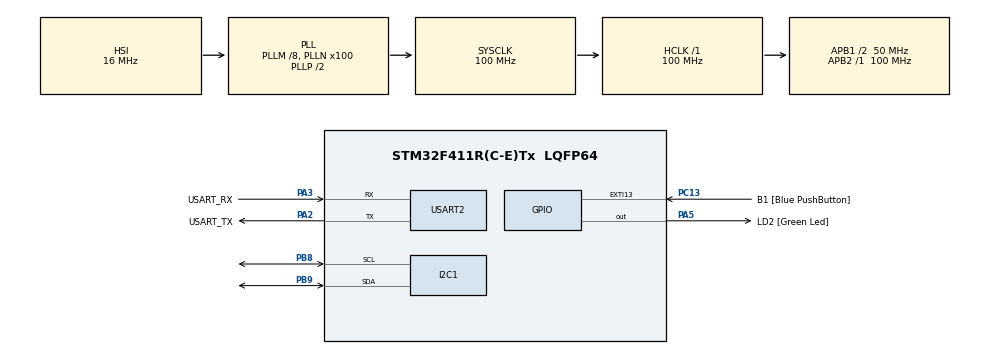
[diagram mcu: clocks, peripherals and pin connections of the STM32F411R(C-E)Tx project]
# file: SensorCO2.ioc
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Mcu.Family=STM32F4
Mcu.Name=STM32F411R(C-E)Tx
Mcu.Package=LQFP64
NVIC.PriorityGroup=NVIC_PRIORITYGROUP_0
PA13.GPIO_Label=TMS
PA13.Mode=Serial_Wire
PA13.Signal=SYS_JTMS-SWDIO
PA14.GPIO_Label=TCK
PA14.Mode=Serial_Wire
PA14.Signal=SYS_JTCK-SWCLK
PA2.GPIO_Label=USART_TX
PA2.Mode=Asynchronous
PA2.Signal=USART2_TX
PA3.GPIO_Label=USART_RX
PA3.Mode=Asynchronous
PA3.Signal=USART2_RX
PA5.GPIO_Label=LD2 [Green Led]
PA5.Signal=GPIO_Output
PB8.Mode=I2C
PB8.Signal=I2C1_SCL
PB9.Mode=I2C
PB9.Signal=I2C1_SDA
PC13-ANTI_TAMP.GPIO_Label=B1 [Blue PushButton]
PC13-ANTI_TAMP.GPIO_ModeDefaultEXTI=GPIO_MODE_IT_FALLING
PC13-ANTI_TAMP.Signal=GPXTI13
PH0\ -\ OSC_IN.Mode=HSE-External-Oscillator
PH0\ -\ OSC_IN.Signal=RCC_OSC_IN
PH1\ -\ OSC_OUT.Mode=HSE-External-Oscillator
PH1\ -\ OSC_OUT.Signal=RCC_OSC_OUT
ProjectManager.HeapSize=0x200
ProjectManager.StackSize=0x400
ProjectManager.TargetToolchain=STM32CubeIDE
RCC.48MHZClocksFreq_Value=50000000
RCC.AHBFreq_Value=100000000
RCC.APB1CLKDivider=RCC_HCLK_DIV2
RCC.APB1Freq_Value=50000000
RCC.APB1TimFreq_Value=100000000
RCC.APB2Freq_Value=100000000
RCC.APB2TimFreq_Value=100000000
RCC.CortexFreq_Value=100000000
RCC.FLatency-AdvancedSettings=FLASH_LATENCY_3
RCC.HCLKFreq_Value=100000000
RCC.HSE_VALUE=25000000
RCC.HSI_VALUE=16000000
RCC.LSE_VALUE=32768
RCC.PLLM=8
RCC.PLLN=100
RCC.SYSCLKFreq_VALUE=100000000
RCC.SYSCLKSource=RCC_SYSCLKSOURCE_PLLCLK
RCC.VCOOutputFreq_Value=200000000
USART2.VirtualMode=VM_ASYNC
board=NUCLEO-F411RE

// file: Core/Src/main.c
/* USER CODE BEGIN Header */
/**
  ******************************************************************************
  * @file           : main.c
  * @brief          : Main program body
  ******************************************************************************
  * @attention
  *
  * Copyright (c) 2026 STMicroelectronics.
  * All rights reserved.
  *
  * This software is licensed under terms that can be found in the LICENSE file
  * in the root directory of this software component.
  * If no LICENSE file comes with this software, it is provided AS-IS.
  *
  ******************************************************************************
  */
/* USER CODE END Header */
#include "main.h"

/* USER CODE BEGIN Includes */

#include "scd30_i2c.h"
#include "sensirion_common.h"
#include "sensirion_i2c_hal.h"
#include <inttypes.h>
#include <stdio.h>

/* USER CODE END Includes */

/* USER CODE BEGIN PTD */
#define sensirion_hal_sleep_us sensirion_i2c_hal_sleep_usec

/* USER CODE END PTD */

I2C_HandleTypeDef hi2c1;

UART_HandleTypeDef huart2;

void SystemClock_Config(void);
static void MX_GPIO_Init(void);
static void MX_USART2_UART_Init(void);
static void MX_I2C1_Init(void);

int main(void)
{

  /* MCU Configuration--------------------------------------------------------*/

  /* Reset of all peripherals, Initializes the Flash interface and the Systick. */
  HAL_Init();

  /* Configure the system clock */
  SystemClock_Config();

  /* Initialize all configured peripherals */
  MX_GPIO_Init();
  MX_USART2_UART_Init();
  MX_I2C1_Init();
  /* USER CODE BEGIN 2 */

  int16_t error = NO_ERROR;
     sensirion_i2c_hal_init();
     scd30_init(SCD30_I2C_ADDR_61);

     scd30_stop_periodic_measurement();
     scd30_soft_reset();
     sensirion_hal_sleep_us(2000000);
    /* uint8_t major = 0;
     uint8_t minor = 0;
     error = scd30_read_firmware_version(&major, &minor);
     if (error != NO_ERROR) {
         printf("error executing read_firmware_version(): %i\n", error);
         return error;
     }
     printf("major: %u ", major);
     printf("minor: %u\n", minor);
*/
     error = scd30_start_periodic_measurement(0);
     if (error != NO_ERROR) {
         printf("error executing start_periodic_measurement(): %i\n", error);
         return error;
     }

     float co2_concentration = 0.0;
     float temperature = 0.0;
     float humidity = 0.0;
     uint16_t repetition = 0;
     for (repetition = 0; repetition < 30; repetition++) {
         sensirion_hal_sleep_us(1500000);
         error = scd30_blocking_read_measurement_data(&co2_concentration,
                                                      &temperature, &humidity);
         if (error != NO_ERROR) {
             printf("error executing blocking_read_measurement_data(): %i\n",
                    error);
             continue;
         }
         printf("co2_concentration: %.2f ", co2_concentration);
         printf("temperature: %.2f ", temperature);
         printf("humidity: %.2f\n", humidity);
     }

     error = scd30_stop_periodic_measurement();
     if (error != NO_ERROR) {
         return error;
     }
     return NO_ERROR;

  /* USER CODE END 2 */

  /* Infinite loop */
  while (1)
  {

  }
}

void SystemClock_Config(void)
{
  RCC_OscInitTypeDef RCC_OscInitStruct = {0};
  RCC_ClkInitTypeDef RCC_ClkInitStruct = {0};

  /** Configure the main internal regulator output voltage
  */
  __HAL_RCC_PWR_CLK_ENABLE();
  __HAL_PWR_VOLTAGESCALING_CONFIG(PWR_REGULATOR_VOLTAGE_SCALE1);

  /** Initializes the RCC Oscillators according to the specified parameters
  * in the RCC_OscInitTypeDef structure.
  */
  RCC_OscInitStruct.OscillatorType = RCC_OSCILLATORTYPE_HSI;
  RCC_OscInitStruct.HSIState = RCC_HSI_ON;
  RCC_OscInitStruct.HSICalibrationValue = RCC_HSICALIBRATION_DEFAULT;
  RCC_OscInitStruct.PLL.PLLState = RCC_PLL_ON;
  RCC_OscInitStruct.PLL.PLLSource = RCC_PLLSOURCE_HSI;
  RCC_OscInitStruct.PLL.PLLM = 8;
  RCC_OscInitStruct.PLL.PLLN = 100;
  RCC_OscInitStruct.PLL.PLLP = RCC_PLLP_DIV2;
  RCC_OscInitStruct.PLL.PLLQ = 4;
  if (HAL_RCC_OscConfig(&RCC_OscInitStruct) != HAL_OK)
  {
    Error_Handler();
  }

  /** Initializes the CPU, AHB and APB buses clocks
  */
  RCC_ClkInitStruct.ClockType = RCC_CLOCKTYPE_HCLK|RCC_CLOCKTYPE_SYSCLK
                              |RCC_CLOCKTYPE_PCLK1|RCC_CLOCKTYPE_PCLK2;
  RCC_ClkInitStruct.SYSCLKSource = RCC_SYSCLKSOURCE_PLLCLK;
  RCC_ClkInitStruct.AHBCLKDivider = RCC_SYSCLK_DIV1;
  RCC_ClkInitStruct.APB1CLKDivider = RCC_HCLK_DIV2;
  RCC_ClkInitStruct.APB2CLKDivider = RCC_HCLK_DIV1;

  if (HAL_RCC_ClockConfig(&RCC_ClkInitStruct, FLASH_LATENCY_3) != HAL_OK)
  {
    Error_Handler();
  }
}

static void MX_I2C1_Init(void)
{

  hi2c1.Instance = I2C1;
  hi2c1.Init.ClockSpeed = 100000;
  hi2c1.Init.DutyCycle = I2C_DUTYCYCLE_2;
  hi2c1.Init.OwnAddress1 = 0;
  hi2c1.Init.AddressingMode = I2C_ADDRESSINGMODE_7BIT;
  hi2c1.Init.DualAddressMode = I2C_DUALADDRESS_DISABLE;
  hi2c1.Init.OwnAddress2 = 0;
  hi2c1.Init.GeneralCallMode = I2C_GENERALCALL_DISABLE;
  hi2c1.Init.NoStretchMode = I2C_NOSTRETCH_DISABLE;
  if (HAL_I2C_Init(&hi2c1) != HAL_OK)
  {
    Error_Handler();
  }

}

static void MX_USART2_UART_Init(void)
{

  huart2.Instance = USART2;
  huart2.Init.BaudRate = 115200;
  huart2.Init.WordLength = UART_WORDLENGTH_8B;
  huart2.Init.StopBits = UART_STOPBITS_1;
  huart2.Init.Parity = UART_PARITY_NONE;
  huart2.Init.Mode = UART_MODE_TX_RX;
  huart2.Init.HwFlowCtl = UART_HWCONTROL_NONE;
  huart2.Init.OverSampling = UART_OVERSAMPLING_16;
  if (HAL_UART_Init(&huart2) != HAL_OK)
  {
    Error_Handler();
  }

}

static void MX_GPIO_Init(void)
{
  GPIO_InitTypeDef GPIO_InitStruct = {0};

  /* GPIO Ports Clock Enable */
  __HAL_RCC_GPIOC_CLK_ENABLE();
  __HAL_RCC_GPIOH_CLK_ENABLE();
  __HAL_RCC_GPIOA_CLK_ENABLE();
  __HAL_RCC_GPIOB_CLK_ENABLE();

  /*Configure GPIO pin Output Level */
  HAL_GPIO_WritePin(LD2_GPIO_Port, LD2_Pin, GPIO_PIN_RESET);

  /*Configure GPIO pin : B1_Pin */
  GPIO_InitStruct.Pin = B1_Pin;
  GPIO_InitStruct.Mode = GPIO_MODE_IT_FALLING;
  GPIO_InitStruct.Pull = GPIO_NOPULL;
  HAL_GPIO_Init(B1_GPIO_Port, &GPIO_InitStruct);

  /*Configure GPIO pin : LD2_Pin */
  GPIO_InitStruct.Pin = LD2_Pin;
  GPIO_InitStruct.Mode = GPIO_MODE_OUTPUT_PP;
  GPIO_InitStruct.Pull = GPIO_NOPULL;
  GPIO_InitStruct.Speed = GPIO_SPEED_FREQ_LOW;
  HAL_GPIO_Init(LD2_GPIO_Port, &GPIO_InitStruct);

}

/* USER CODE BEGIN 4 */
int _write(int file , char *ptr, int len){

	HAL_StatusTypeDef status = HAL_UART_Transmit(&huart2, (uint8_t*)ptr, len, HAL_MAX_DELAY);

	return (status == HAL_OK) ? len: -1 ;

}
/* USER CODE END 4 */

void Error_Handler(void)
{
  __disable_irq();
  while (1)
  {
  }
}
